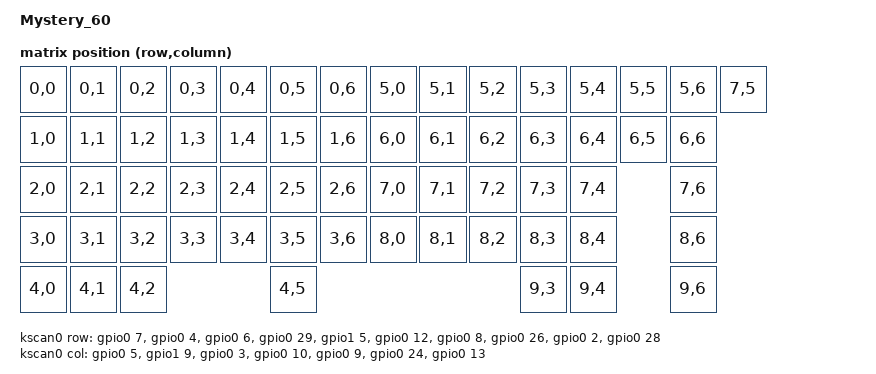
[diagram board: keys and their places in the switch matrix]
/*
 * Copyright (c) 2021 Nick Winans
 *
 * SPDX-License-Identifier: MIT
 */

/dts-v1/;
#include <nordic/nrf52833_qiaa.dtsi>
#include "ms60-pinctrl.dtsi"

#include <dt-bindings/led/led.h>

#include <dt-bindings/zmk/matrix_transform.h>
#include <dt-bindings/zmk/outputs.h>

/ {
	model = "Mystery_60";
	compatible = "Mystery,60";

	chosen {
        zephyr,code-partition = &code_partition;
        zephyr,sram = &sram0;
        zephyr,flash = &flash0;
        zephyr,console = &cdc_acm_uart;
        zmk,battery = &vbatt;
        zmk,kscan = &kscan0;
        zmk,matrix_transform = &default_transform;
        zmk,underglow = &led_strip;
	};

	default_transform: keymap_transform_0 {
		compatible = "zmk,matrix-transform";
		columns = <7>;
		rows = <10>;
		map = <
                RC(0,0) RC(0,1) RC(0,2) RC(0,3) RC(0,4) RC(0,5) RC(0,6) RC(5,0) RC(5,1) RC(5,2) RC(5,3) RC(5,4) RC(5,5) RC(5,6) RC(7,5)
                RC(1,0) RC(1,1) RC(1,2) RC(1,3) RC(1,4) RC(1,5) RC(1,6) RC(6,0) RC(6,1) RC(6,2) RC(6,3) RC(6,4) RC(6,5) RC(6,6)
                RC(2,0) RC(2,1) RC(2,2) RC(2,3) RC(2,4) RC(2,5) RC(2,6) RC(7,0) RC(7,1) RC(7,2) RC(7,3) RC(7,4)         RC(7,6)
                RC(3,0) RC(3,1) RC(3,2) RC(3,3) RC(3,4) RC(3,5) RC(3,6) RC(8,0) RC(8,1) RC(8,2) RC(8,3) RC(8,4)         RC(8,6)
                RC(4,0) RC(4,1) RC(4,2)                 RC(4,5)                                 RC(9,3) RC(9,4)         RC(9,6)

		>;
	};

	kscan0: kscan {
		compatible = "zmk,kscan-gpio-matrix";
		label = "KSCAN";

		diode-direction = "col2row";
		row-gpios
			= <&gpio0 7  (GPIO_ACTIVE_HIGH | GPIO_PULL_DOWN)>
			, <&gpio0 4  (GPIO_ACTIVE_HIGH | GPIO_PULL_DOWN)>
			, <&gpio0 6  (GPIO_ACTIVE_HIGH | GPIO_PULL_DOWN)> 
			, <&gpio0 29 (GPIO_ACTIVE_HIGH | GPIO_PULL_DOWN)>
			, <&gpio1 5  (GPIO_ACTIVE_HIGH | GPIO_PULL_DOWN)>
            , <&gpio0 12 (GPIO_ACTIVE_HIGH | GPIO_PULL_DOWN)>
            , <&gpio0 8  (GPIO_ACTIVE_HIGH | GPIO_PULL_DOWN)>
            , <&gpio0 26 (GPIO_ACTIVE_HIGH | GPIO_PULL_DOWN)>
            , <&gpio0 2  (GPIO_ACTIVE_HIGH | GPIO_PULL_DOWN)>
            , <&gpio0 28 (GPIO_ACTIVE_HIGH | GPIO_PULL_DOWN)>
			;
		col-gpios
			= <&gpio0 5  GPIO_ACTIVE_HIGH> 
			, <&gpio1 9  GPIO_ACTIVE_HIGH> 
			, <&gpio0 3  GPIO_ACTIVE_HIGH> 
			, <&gpio0 10 GPIO_ACTIVE_HIGH> 
			, <&gpio0 9  GPIO_ACTIVE_HIGH> 
			, <&gpio0 24 GPIO_ACTIVE_HIGH> 
			, <&gpio0 13 GPIO_ACTIVE_HIGH> 
			;
	};

    leds {
        compatible = "gpio-leds";
        blue_led: led_0 {
            gpios = <&gpio0 15 GPIO_ACTIVE_HIGH>;
            label = "Blue LED";
        };
    };

	ext-power {
		compatible = "zmk,ext-power-generic";
		label = "EXT_POWER";
		control-gpios = <&gpio0 30 GPIO_ACTIVE_LOW>;
	};

	vbatt: vbatt {
		compatible = "zmk,battery-voltage-divider";
		label = "BATTERY";
		io-channels = <&adc 7>;
		output-ohms = <2000000>;
		full-ohms = <(2000000 + 10000)>;
	};
};

&adc {
	status = "okay";
};

&gpiote {
	status = "okay";
};

&gpio0 {
	status = "okay";
};

&gpio1 {
	status = "okay"; 
};

&usbd {
    status = "okay";
    cdc_acm_uart: cdc_acm_uart {
        compatible = "zephyr,cdc-acm-uart";
        label = "CDC_ACM_0";
    };
};

&flash0 {
	/*
	 * For more information, see:
	 * http://docs.zephyrproject.org/latest/devices/dts/flash_partitions.html
	 */
	partitions {
		compatible = "fixed-partitions";
		#address-cells = <1>;
		#size-cells = <1>;

		sd_partition: partition@0 {
			label = "softdevice";
			reg = <0x00000000 0x00026000>;
		};
		code_partition: partition@26000 {
			label = "code_partition";
			reg = <0x00026000 0x00046000>;
		};

		/*
		 * The flash starting at 0x0006c000 and ending at
		 * 0x00073fff is reserved for use by the application.
		 */

		/*
		 * Storage partition will be used by FCB/LittleFS/NVS
		 * if enabled.
		 */
		storage_partition: partition@6c000 {
			label = "storage";
			reg = <0x0006c000 0x00008000>;
		};

		boot_partition: partition@74000 {
			label = "adafruit_boot";
			reg = <0x00074000 0x0000c000>;
		};
	};
};

&spi3 {
    compatible = "nordic,nrf-spim";
    status = "okay";
    pinctrl-0 = <&spi3_default>;
    pinctrl-1 = <&spi3_sleep>;
    pinctrl-names = "default", "sleep";

    led_strip: ws2812@0 {
        compatible = "worldsemi,ws2812-spi";
        label = "WS2812";

        /* SPI */
        reg = <0>;
        spi-max-frequency = <4000000>;

        /* WS2812 */
        chain-length = <12>; /* number of LEDs */
        spi-one-frame = <0x70>;
        spi-zero-frame = <0x40>;
        color-mapping = <LED_COLOR_ID_GREEN
                   LED_COLOR_ID_RED
                   LED_COLOR_ID_BLUE>;
    };
};
